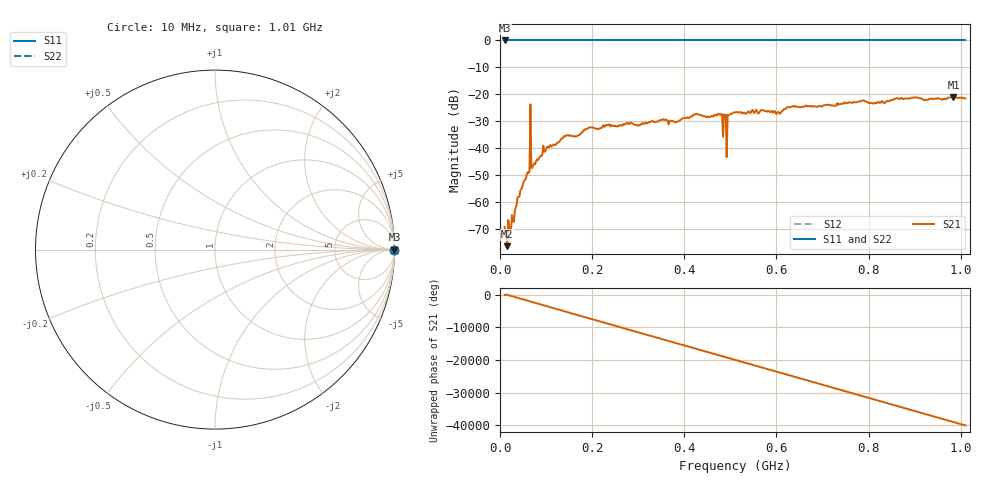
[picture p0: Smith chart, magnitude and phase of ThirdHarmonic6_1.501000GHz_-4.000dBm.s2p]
! 8/16/2025 5:37:47 PM
! C:\ANRITSUVNA\TEMP\TEMP.S2P
! CHANNEL.1
! TR.MEASUREMENT
! RAW.DATA
! RF.CORRECTION.OFF
! AVERAGING.OFF
! IF.BANDWIDTH: 5KHZ
! SWEEPTYPE:  FREQ.SWEEP(Linear)
! Reference Plane Port Info
! PORT:  PORT1  PORT2
! DISTANCE:  0  m  0  m
! TIME:  0  s  0  s
! PHASE.OFFSET:  0  deg.  0  deg.
! LOSS:  0  dB  0  dB
! REF.LOSS:  0  dB  0  dB
! REF.FREQ:  0  Hz  0  Hz
! Power Info
! POWER:  -20  dBm  -20  dBm
! EFF.POWER:  -20  dBm  -20  dBm
! SOURCE.ATTEN:  0  dB  0  dB
! TEST.ATTEN:  0  dB  0  dB
# GHZ S RI R 50.0
! FREQ.GHZ  S11RE  S11IM  S21RE  S21IM  S12RE  S12IM  S22RE  S22IM
!; PortSelection: Port_12
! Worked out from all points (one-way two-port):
!   501 points, 10 MHz to 1.01 GHz, reference 50 ohm
!   highest |S21| = -21.01 dB at 984 MHz (marker M1); lowest = -76.4 dB at 16 MHz (marker M2)
!   lowest |S11| = 0.0 dB at 10 MHz (marker M3)
!   |S11| at or under -10 dB: nowhere
!   |S22| runs from 0.0 to 0.0 dB; largest |S21 - S12| = 1.1
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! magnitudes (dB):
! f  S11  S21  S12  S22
! 10 MHz  0.0  -69.2  0.0  0.0
! 16 MHz  0.0  -76.4  0.0  0.0
! 26 MHz  0.0  -64.9  0.0  0.0
! 42 MHz  0.0  -58.0  0.0  0.0
! 60 MHz  0.0  -49.0  0.0  0.0
! 62 MHz  0.0  -49.2  0.0  0.0
! 70 MHz  0.0  -47.2  0.0  0.0
! 72 MHz  0.0  -46.4  0.0  0.0
! 106 MHz  0.0  -39.8  0.0  0.0
! 178 MHz  0.0  -34.2  0.0  0.0
! 344 MHz  0.0  -30.1  0.0  0.0
! 478 MHz  0.0  -27.6  0.0  0.0
! 486 MHz  0.0  -27.6  0.0  0.0
! 488 MHz  0.0  -27.6  0.0  0.0
! 496 MHz  0.0  -27.7  0.0  0.0
! 498 MHz  0.0  -27.6  0.0  0.0
! 510 MHz  0.0  -26.7  0.0  0.0
! 604 MHz  0.0  -26.6  0.0  0.0
! 678 MHz  0.0  -24.7  0.0  0.0
! 844 MHz  0.0  -22.6  0.0  0.0
! 984 MHz  0.0  -21.0  0.0  0.0
! 1.01 GHz  0.0  -21.5  0.0  0.0
